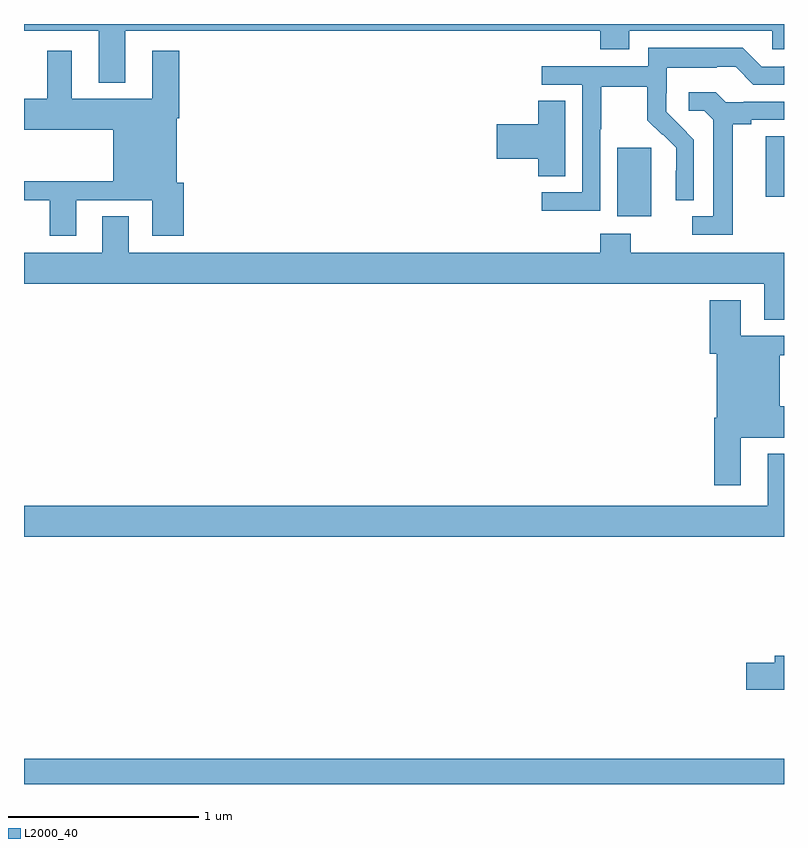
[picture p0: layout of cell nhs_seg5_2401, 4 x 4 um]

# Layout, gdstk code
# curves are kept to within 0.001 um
import gdstk
lib = gdstk.Library(unit=1e-6, precision=1e-09)
def R(c, l, rs):  # rectangles x0, y0, x1, y1
    for r in rs: c.add(gdstk.rectangle(r[:2], r[2:], *l))
def P(c, l, *ps):  # polygons
    for p in ps: c.add(gdstk.Polygon(p, *l))
L2000_40 = (2000, 40)

nhs_seg5_2401 = lib.new_cell('nhs_seg5_2401')
R(nhs_seg5_2401, L2000_40, [(251,848.799,255,848.932), (254.123,851.786,254.302,852.147), (254.903,851.889,255,852.209)])
P(nhs_seg5_2401, L2000_40, [(251.533,852.764),(254.033,852.764),(254.033,852.665),(254.185,852.665),(254.185,852.764),(254.937,852.764),(254.937,852.666),(255,852.666),(255,852.799),(251,852.799),(251,852.764),(251.393,852.764),(251.393,852.491),(251.533,852.491)],
  [(254.034,852.244),(254.037,852.244),(254.037,852.468),(254.281,852.468),(254.281,852.293),(254.358,852.216),(254.361,852.219),(254.432,852.149),(254.432,852.026),(254.43,852.026),(254.43,851.872),(254.526,851.872),(254.526,852.19),(254.38,852.338),(254.38,852.435),(254.382,852.435),(254.382,852.569),(254.645,852.569),(254.645,852.573),(254.745,852.573),(254.838,852.48),(255,852.48),(255,852.576),(254.999,852.573),(254.883,852.573),(254.783,852.673),(254.286,852.673),(254.286,852.576),(253.725,852.576),(253.725,852.48),(253.938,852.48),(253.938,851.913),(253.725,851.913),(253.725,851.815),(254.034,851.815)],
  [(251.275,851.871),(251.675,851.871),(251.675,851.685),(251.84,851.685),(251.84,851.964),(251.803,851.964),(251.803,852.302),(251.816,852.302),(251.816,852.658),(251.675,852.658),(251.675,852.406),(251.251,852.406),(251.251,852.658),(251.123,852.658),(251.123,852.406),(251,852.406),(251,852.242),(251.471,852.242),(251.471,851.972),(251,851.972),(251,851.871),(251.135,851.871),(251.135,851.685),(251.275,851.685)],
  [(254.731,852.272),(254.827,852.272),(254.827,852.294),(255,852.294),(255,852.39),(254.788,852.39),(254.788,852.387),(254.694,852.387),(254.642,852.439),(254.499,852.439),(254.499,852.342),(254.58,852.342),(254.627,852.295),(254.627,851.787),(254.517,851.787),(254.517,851.691),(254.731,851.691)],
  [(253.849,852.395),(253.706,852.395),(253.706,852.272),(253.488,852.272),(253.488,852.089),(253.706,852.089),(253.706,851.998),(253.849,851.998)],
  [(255,851.596),(254.193,851.596),(254.193,851.695),(254.033,851.695),(254.033,851.596),(251.551,851.596),(251.551,851.786),(251.411,851.786),(251.411,851.596),(251,851.596),(251,851.432),(254.897,851.432),(254.897,851.242),(255,851.242)],
  [(254.773,850.622),(255,850.622),(255,850.786),(254.977,850.786),(254.977,851.056),(255,851.056),(255,851.157),(254.773,851.157),(254.773,851.344),(254.609,851.344),(254.609,851.064),(254.645,851.064),(254.645,850.726),(254.633,850.726),(254.633,850.371),(254.773,850.371)],
  [(255,850.537),(254.915,850.537),(254.915,850.264),(251,850.264),(251,850.1),(255,850.1)],
  [(255,849.473),(254.951,849.473),(254.951,849.437),(254.802,849.437),(254.802,849.295),(255,849.295)])

lib.write_gds('nhs_seg5_2401.gds')
